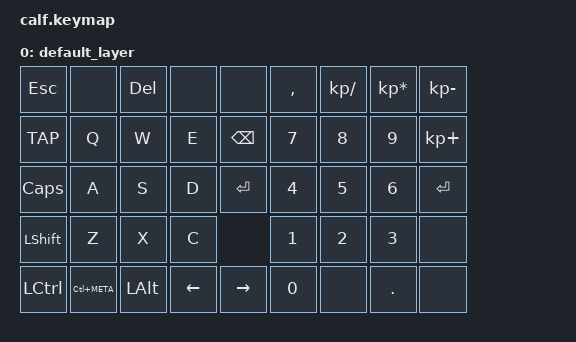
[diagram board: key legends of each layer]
#include <behaviors.dtsi>
#include <dt-bindings/zmk/bt.h>
#include <dt-bindings/zmk/keys.h>

/ {
    keymap {
        compatible = "zmk,keymap";

        default_layer {

            bindings = <
                &kp ESC        &none         &kp DEL   &none     &none      &kp COMMA  &kp KP_SLASH  &kp KP_ASTERISK  &kp KP_MINUS    
                &kp TAP        &kp Q         &kp W     &kp E     &kp BSPC   &kp 7      &kp 8         &kp 9            &kp KP_PLUS    
                &kp CAPSLOCK   &kp A         &kp S     &kp D     &kp ENTER  &kp 4      &kp 5         &kp 6            &kp ENTER      
                &kp LSHIFT     &kp Z         &kp X     &kp C                &kp 1      &kp 2         &kp 3            &none          
                &kp LCTRL      &kp LC(META)  &kp LALT  &kp LEFT  &kp RIGHT  &kp 0      &none         &kp DOT          &none        
            >; 

        };
    };
};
